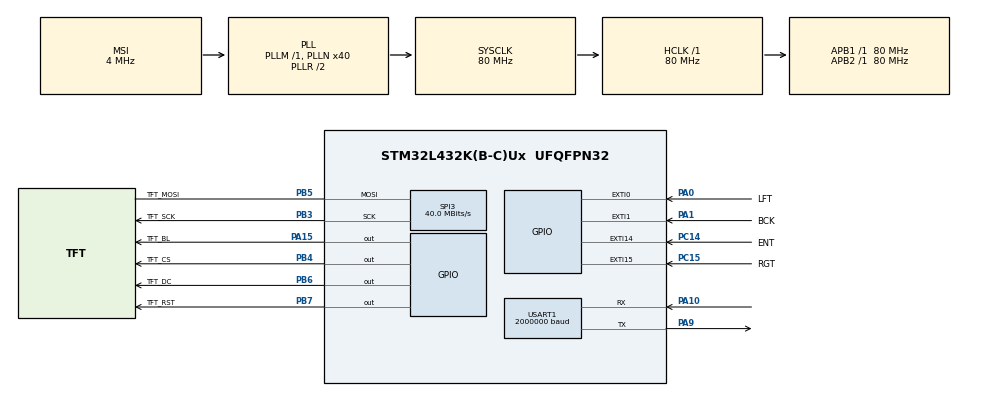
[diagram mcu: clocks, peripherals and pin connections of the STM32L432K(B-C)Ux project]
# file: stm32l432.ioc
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Dma.Request0=SPI3_TX
Dma.SPI3_TX.0.Direction=DMA_MEMORY_TO_PERIPH
Dma.SPI3_TX.0.Instance=DMA2_Channel2
Dma.SPI3_TX.0.MemDataAlignment=DMA_MDATAALIGN_BYTE
Dma.SPI3_TX.0.MemInc=DMA_MINC_ENABLE
Dma.SPI3_TX.0.Mode=DMA_NORMAL
Dma.SPI3_TX.0.PeriphDataAlignment=DMA_PDATAALIGN_BYTE
Dma.SPI3_TX.0.PeriphInc=DMA_PINC_DISABLE
Dma.SPI3_TX.0.Priority=DMA_PRIORITY_LOW
Mcu.Family=STM32L4
Mcu.Name=STM32L432K(B-C)Ux
Mcu.Package=UFQFPN32
NVIC.DMA2_Channel2_IRQn=true\:0\:0\:false\:false\:true\:false\:true\:true
NVIC.EXTI0_IRQn=true\:0\:0\:false\:false\:true\:true\:true\:true
NVIC.EXTI15_10_IRQn=true\:0\:0\:false\:false\:true\:true\:true\:true
NVIC.EXTI1_IRQn=true\:0\:0\:false\:false\:true\:true\:true\:true
NVIC.PriorityGroup=NVIC_PRIORITYGROUP_4
NVIC.SPI3_IRQn=true\:0\:0\:false\:false\:true\:true\:true\:true
PA0.GPIO_Label=LFT
PA0.GPIO_PuPd=GPIO_PULLUP
PA0.Signal=GPXTI0
PA1.GPIO_Label=BCK
PA1.GPIO_PuPd=GPIO_PULLUP
PA1.Signal=GPXTI1
PA10.Mode=Asynchronous
PA10.Signal=USART1_RX
PA13\ (JTMS-SWDIO).Mode=Serial_Wire
PA13\ (JTMS-SWDIO).Signal=SYS_JTMS-SWDIO
PA14\ (JTCK-SWCLK).Mode=Serial_Wire
PA14\ (JTCK-SWCLK).Signal=SYS_JTCK-SWCLK
PA15\ (JTDI).GPIO_Label=TFT_BL
PA15\ (JTDI).Signal=GPIO_Output
PA9.Mode=Asynchronous
PA9.Signal=USART1_TX
PB3\ (JTDO-TRACESWO).GPIO_Label=TFT_SCK
PB3\ (JTDO-TRACESWO).Mode=Simplex_Bidirectional_Master
PB3\ (JTDO-TRACESWO).Signal=SPI3_SCK
PB4\ (NJTRST).GPIO_Label=TFT_CS
PB4\ (NJTRST).PinState=GPIO_PIN_SET
PB4\ (NJTRST).Signal=GPIO_Output
PB5.GPIO_Label=TFT_MOSI
PB5.GPIO_PuPd=GPIO_PULLUP
PB5.Mode=Simplex_Bidirectional_Master
PB5.Signal=SPI3_MOSI
PB6.GPIO_Label=TFT_DC
PB6.Signal=GPIO_Output
PB7.GPIO_Label=TFT_RST
PB7.PinState=GPIO_PIN_SET
PB7.Signal=GPIO_Output
PC14-OSC32_IN\ (PC14).GPIO_Label=ENT
PC14-OSC32_IN\ (PC14).GPIO_PuPd=GPIO_PULLUP
PC14-OSC32_IN\ (PC14).Signal=GPXTI14
PC15-OSC32_OUT\ (PC15).GPIO_Label=RGT
PC15-OSC32_OUT\ (PC15).GPIO_PuPd=GPIO_PULLUP
PC15-OSC32_OUT\ (PC15).Signal=GPXTI15
ProjectManager.HeapSize=0x200
ProjectManager.StackSize=0x400
ProjectManager.TargetToolchain=STM32CubeIDE
RCC.ADCFreq_Value=48000000
RCC.AHBFreq_Value=80000000
RCC.APB1Freq_Value=80000000
RCC.APB1TimFreq_Value=80000000
RCC.APB2Freq_Value=80000000
RCC.APB2TimFreq_Value=80000000
RCC.CortexFreq_Value=80000000
RCC.HCLKFreq_Value=80000000
RCC.HSE_VALUE=8000000
RCC.HSI48_VALUE=48000000
RCC.HSI_VALUE=16000000
RCC.LSE_VALUE=32768
RCC.MSI_VALUE=4000000
RCC.PLLN=40
RCC.PLLSAI1N=24
RCC.SYSCLKFreq_VALUE=80000000
RCC.SYSCLKSource=RCC_SYSCLKSOURCE_PLLCLK
RCC.USBFreq_Value=48000000
RCC.VCOOutputFreq_Value=160000000
SPI3.BaudRatePrescaler=SPI_BAUDRATEPRESCALER_2
SPI3.CLKPolarity=SPI_POLARITY_HIGH
SPI3.CalculateBaudRate=40.0 MBits/s
SPI3.DataSize=SPI_DATASIZE_8BIT
SPI3.Direction=SPI_DIRECTION_1LINE
SPI3.Mode=SPI_MODE_MASTER
SPI3.VirtualType=VM_MASTER
USART1.BaudRate=2000000
USART1.OverSampling=UART_OVERSAMPLING_8
USART1.VirtualMode-Asynchronous=VM_ASYNC
board=custom

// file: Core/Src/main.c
/* USER CODE BEGIN Header */
/**
 ******************************************************************************
 * @file           : main.c
 * @brief          : Main program body
 ******************************************************************************
 * @attention
 *
 * Copyright (c) 2025 Lars Boegild Thomsen <lbthomsen@gmail.com>
 * All rights reserved.
 *
 * This software is licensed under terms that can be found in the LICENSE file
 * in the root directory of this software component.
 * If no LICENSE file comes with this software, it is provided AS-IS.
 *
 ******************************************************************************
 */
/* USER CODE END Header */
#include "main.h"

/* USER CODE BEGIN Includes */
#include <stdlib.h>
#include <stdio.h>
#include "st7789.h"
#include "fonts.h"
/* USER CODE END Includes */

SPI_HandleTypeDef hspi3;
DMA_HandleTypeDef hdma_spi3_tx;

UART_HandleTypeDef huart1;

void SystemClock_Config(void);
static void MX_GPIO_Init(void);
static void MX_DMA_Init(void);
static void MX_USART1_UART_Init(void);
static void MX_SPI3_Init(void);

/* USER CODE BEGIN 0 */

// Send printf to uart1
int _write(int fd, char *ptr, int len) {
    HAL_StatusTypeDef hstatus;

    if (fd == 1 || fd == 2) {
        hstatus = HAL_UART_Transmit(&huart1, (uint8_t*) ptr, len, HAL_MAX_DELAY);
        if (hstatus == HAL_OK)
            return len;
        else
            return -1;
    }
    return -1;
}

void HAL_GPIO_EXTI_Callback(uint16_t GPIO_Pin) {
    printf("EXTI CB: %d\n", GPIO_Pin);

    switch (GPIO_Pin) {

    case BCK_Pin:
        printf("BCK\n");
        break;
    case LFT_Pin:
        printf("LFT\n");
        break;
    case RGT_Pin:
        printf("RGT\n");
        break;
    case ENT_Pin:
        printf("ENT\n");
        break;
    default:
        printf("Developer is a moron!\n");
    }
}

/* USER CODE END 0 */

int main(void)
{

  /* MCU Configuration--------------------------------------------------------*/

  /* Reset of all peripherals, Initializes the Flash interface and the Systick. */
  HAL_Init();

  /* Configure the system clock */
  SystemClock_Config();

  /* Initialize all configured peripherals */
  MX_GPIO_Init();
  MX_DMA_Init();
  MX_USART1_UART_Init();
  MX_SPI3_Init();
  /* USER CODE BEGIN 2 */

    printf("\n\n\n--------------\nStarting ST7789 Demo\n");

    printf("Initializing display\n");

    HAL_GPIO_WritePin(TFT_BL_GPIO_Port, TFT_BL_Pin, GPIO_PIN_RESET);

    ST7789_Init();

    HAL_Delay(50);

    //ST7789_Fill_Color(BLUE);

    ST7789_Test();

  /* USER CODE END 2 */

  /* Infinite loop */
  /* USER CODE BEGIN WHILE */

    uint32_t now = 0, next_tick = 1000, loop_cnt = 0;

    while (1) {

        now = uwTick;

        if (now >= next_tick) {

            printf("Tick %lu (loop = %lu)\n", now / 1000, loop_cnt);

            loop_cnt = 0;
            next_tick = now + 1000;
        }

        ++loop_cnt;

    /* USER CODE END WHILE */

    }
}

void SystemClock_Config(void)
{
  RCC_OscInitTypeDef RCC_OscInitStruct = {0};
  RCC_ClkInitTypeDef RCC_ClkInitStruct = {0};

  /** Configure the main internal regulator output voltage
  */
  if (HAL_PWREx_ControlVoltageScaling(PWR_REGULATOR_VOLTAGE_SCALE1) != HAL_OK)
  {
    Error_Handler();
  }

  /** Initializes the RCC Oscillators according to the specified parameters
  * in the RCC_OscInitTypeDef structure.
  */
  RCC_OscInitStruct.OscillatorType = RCC_OSCILLATORTYPE_MSI;
  RCC_OscInitStruct.MSIState = RCC_MSI_ON;
  RCC_OscInitStruct.MSICalibrationValue = 0;
  RCC_OscInitStruct.MSIClockRange = RCC_MSIRANGE_6;
  RCC_OscInitStruct.PLL.PLLState = RCC_PLL_ON;
  RCC_OscInitStruct.PLL.PLLSource = RCC_PLLSOURCE_MSI;
  RCC_OscInitStruct.PLL.PLLM = 1;
  RCC_OscInitStruct.PLL.PLLN = 40;
  RCC_OscInitStruct.PLL.PLLP = RCC_PLLP_DIV7;
  RCC_OscInitStruct.PLL.PLLQ = RCC_PLLQ_DIV2;
  RCC_OscInitStruct.PLL.PLLR = RCC_PLLR_DIV2;
  if (HAL_RCC_OscConfig(&RCC_OscInitStruct) != HAL_OK)
  {
    Error_Handler();
  }

  /** Initializes the CPU, AHB and APB buses clocks
  */
  RCC_ClkInitStruct.ClockType = RCC_CLOCKTYPE_HCLK|RCC_CLOCKTYPE_SYSCLK
                              |RCC_CLOCKTYPE_PCLK1|RCC_CLOCKTYPE_PCLK2;
  RCC_ClkInitStruct.SYSCLKSource = RCC_SYSCLKSOURCE_PLLCLK;
  RCC_ClkInitStruct.AHBCLKDivider = RCC_SYSCLK_DIV1;
  RCC_ClkInitStruct.APB1CLKDivider = RCC_HCLK_DIV1;
  RCC_ClkInitStruct.APB2CLKDivider = RCC_HCLK_DIV1;

  if (HAL_RCC_ClockConfig(&RCC_ClkInitStruct, FLASH_LATENCY_4) != HAL_OK)
  {
    Error_Handler();
  }
}

static void MX_SPI3_Init(void)
{

  /* SPI3 parameter configuration*/
  hspi3.Instance = SPI3;
  hspi3.Init.Mode = SPI_MODE_MASTER;
  hspi3.Init.Direction = SPI_DIRECTION_1LINE;
  hspi3.Init.DataSize = SPI_DATASIZE_8BIT;
  hspi3.Init.CLKPolarity = SPI_POLARITY_HIGH;
  hspi3.Init.CLKPhase = SPI_PHASE_1EDGE;
  hspi3.Init.NSS = SPI_NSS_SOFT;
  hspi3.Init.BaudRatePrescaler = SPI_BAUDRATEPRESCALER_2;
  hspi3.Init.FirstBit = SPI_FIRSTBIT_MSB;
  hspi3.Init.TIMode = SPI_TIMODE_DISABLE;
  hspi3.Init.CRCCalculation = SPI_CRCCALCULATION_DISABLE;
  hspi3.Init.CRCPolynomial = 7;
  hspi3.Init.CRCLength = SPI_CRC_LENGTH_DATASIZE;
  hspi3.Init.NSSPMode = SPI_NSS_PULSE_ENABLE;
  if (HAL_SPI_Init(&hspi3) != HAL_OK)
  {
    Error_Handler();
  }

}

static void MX_USART1_UART_Init(void)
{

  huart1.Instance = USART1;
  huart1.Init.BaudRate = 2000000;
  huart1.Init.WordLength = UART_WORDLENGTH_8B;
  huart1.Init.StopBits = UART_STOPBITS_1;
  huart1.Init.Parity = UART_PARITY_NONE;
  huart1.Init.Mode = UART_MODE_TX_RX;
  huart1.Init.HwFlowCtl = UART_HWCONTROL_NONE;
  huart1.Init.OverSampling = UART_OVERSAMPLING_8;
  huart1.Init.OneBitSampling = UART_ONE_BIT_SAMPLE_DISABLE;
  huart1.AdvancedInit.AdvFeatureInit = UART_ADVFEATURE_NO_INIT;
  if (HAL_UART_Init(&huart1) != HAL_OK)
  {
    Error_Handler();
  }

}

static void MX_DMA_Init(void)
{

  /* DMA controller clock enable */
  __HAL_RCC_DMA2_CLK_ENABLE();

  /* DMA interrupt init */
  /* DMA2_Channel2_IRQn interrupt configuration */
  HAL_NVIC_SetPriority(DMA2_Channel2_IRQn, 0, 0);
  HAL_NVIC_EnableIRQ(DMA2_Channel2_IRQn);

}

static void MX_GPIO_Init(void)
{
  GPIO_InitTypeDef GPIO_InitStruct = {0};

  /* GPIO Ports Clock Enable */
  __HAL_RCC_GPIOC_CLK_ENABLE();
  __HAL_RCC_GPIOA_CLK_ENABLE();
  __HAL_RCC_GPIOB_CLK_ENABLE();

  /*Configure GPIO pin Output Level */
  HAL_GPIO_WritePin(TFT_BL_GPIO_Port, TFT_BL_Pin, GPIO_PIN_RESET);

  /*Configure GPIO pin Output Level */
  HAL_GPIO_WritePin(GPIOB, TFT_CS_Pin|TFT_RST_Pin, GPIO_PIN_SET);

  /*Configure GPIO pin Output Level */
  HAL_GPIO_WritePin(TFT_DC_GPIO_Port, TFT_DC_Pin, GPIO_PIN_RESET);

  /*Configure GPIO pins : ENT_Pin RGT_Pin */
  GPIO_InitStruct.Pin = ENT_Pin|RGT_Pin;
  GPIO_InitStruct.Mode = GPIO_MODE_IT_RISING;
  GPIO_InitStruct.Pull = GPIO_PULLUP;
  HAL_GPIO_Init(GPIOC, &GPIO_InitStruct);

  /*Configure GPIO pins : LFT_Pin BCK_Pin */
  GPIO_InitStruct.Pin = LFT_Pin|BCK_Pin;
  GPIO_InitStruct.Mode = GPIO_MODE_IT_RISING;
  GPIO_InitStruct.Pull = GPIO_PULLUP;
  HAL_GPIO_Init(GPIOA, &GPIO_InitStruct);

  /*Configure GPIO pin : TFT_BL_Pin */
  GPIO_InitStruct.Pin = TFT_BL_Pin;
  GPIO_InitStruct.Mode = GPIO_MODE_OUTPUT_PP;
  GPIO_InitStruct.Pull = GPIO_NOPULL;
  GPIO_InitStruct.Speed = GPIO_SPEED_FREQ_LOW;
  HAL_GPIO_Init(TFT_BL_GPIO_Port, &GPIO_InitStruct);

  /*Configure GPIO pins : TFT_CS_Pin TFT_DC_Pin TFT_RST_Pin */
  GPIO_InitStruct.Pin = TFT_CS_Pin|TFT_DC_Pin|TFT_RST_Pin;
  GPIO_InitStruct.Mode = GPIO_MODE_OUTPUT_PP;
  GPIO_InitStruct.Pull = GPIO_NOPULL;
  GPIO_InitStruct.Speed = GPIO_SPEED_FREQ_LOW;
  HAL_GPIO_Init(GPIOB, &GPIO_InitStruct);

  /* EXTI interrupt init*/
  HAL_NVIC_SetPriority(EXTI0_IRQn, 0, 0);
  HAL_NVIC_EnableIRQ(EXTI0_IRQn);

  HAL_NVIC_SetPriority(EXTI1_IRQn, 0, 0);
  HAL_NVIC_EnableIRQ(EXTI1_IRQn);

  HAL_NVIC_SetPriority(EXTI15_10_IRQn, 0, 0);
  HAL_NVIC_EnableIRQ(EXTI15_10_IRQn);

}

void Error_Handler(void)
{
    __disable_irq();
    while (1)
    {
    }
}
